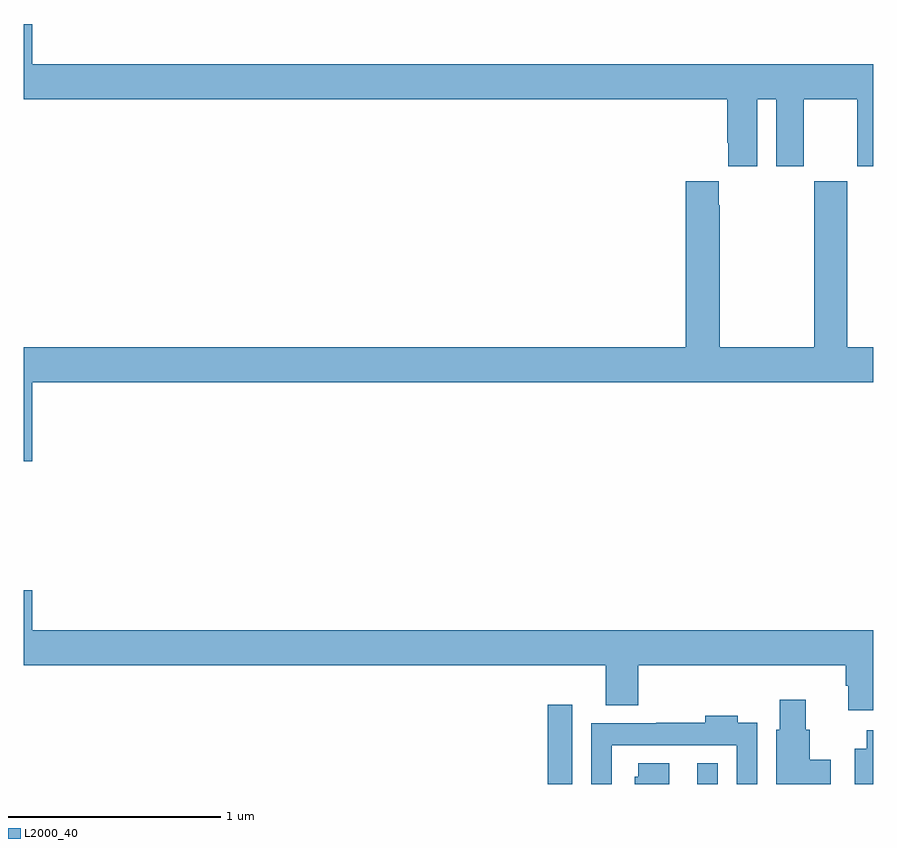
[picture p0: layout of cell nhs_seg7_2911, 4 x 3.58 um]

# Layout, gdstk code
import gdstk
lib = gdstk.Library(unit=1e-6, precision=1e-09)
def R(c, l, rs):  # rectangles x0, y0, x1, y1
    for r in rs: c.add(gdstk.rectangle(r[:2], r[2:], *l))
def P(c, l, *ps):  # polygons
    for p in ps: c.add(gdstk.Polygon(p, *l))
L2000_40 = (2000, 40)

nhs_seg7_2911 = lib.new_cell('nhs_seg7_2911')
R(nhs_seg7_2911, L2000_40, [(299.467,1056,299.583,1056.373), (300.17,1056,300.267,1056.097)])
P(nhs_seg7_2911, L2000_40, [(300.454,1059.224),(300.542,1059.224),(300.542,1058.907),(300.673,1058.907),(300.673,1059.224),(300.923,1059.224),(300.923,1058.907),(301,1058.907),(301,1059.388),(297.04,1059.388),(297.04,1059.577),(297,1059.577),(297,1059.224),(300.311,1059.224),(300.311,1059.019),(300.317,1059.019),(300.317,1058.907),(300.454,1058.907)],
  [(297.04,1057.892),(301,1057.892),(301,1058.056),(300.876,1058.056),(300.876,1058.836),(300.721,1058.836),(300.721,1058.056),(300.276,1058.056),(300.276,1058.723),(300.271,1058.723),(300.271,1058.836),(300.116,1058.836),(300.116,1058.056),(297,1058.056),(297,1057.518),(297.04,1057.518)],
  [(301,1056.724),(297.04,1056.724),(297.04,1056.913),(297,1056.913),(297,1056.56),(299.741,1056.56),(299.741,1056.371),(299.894,1056.371),(299.894,1056.56),(300.869,1056.56),(300.869,1056.462),(300.881,1056.462),(300.881,1056.348),(301,1056.348)],
  [(300.799,1056.114),(300.7,1056.114),(300.7,1056.255),(300.682,1056.255),(300.682,1056.397),(300.56,1056.397),(300.56,1056.255),(300.542,1056.255),(300.542,1056),(300.799,1056)],
  [(299.769,1056.182),(300.357,1056.182),(300.357,1056),(300.453,1056),(300.453,1056.289),(300.361,1056.289),(300.361,1056.322),(300.209,1056.322),(300.209,1056.289),(299.977,1056.289),(299.977,1056.286),(299.673,1056.286),(299.673,1056),(299.769,1056)],
  [(301,1056.253),(300.968,1056.253),(300.968,1056.166),(300.911,1056.166),(300.911,1056),(301,1056)],
  [(300.04,1056.097),(299.894,1056.097),(299.894,1056.033),(299.876,1056.033),(299.876,1056),(300.04,1056)])

lib.write_gds('nhs_seg7_2911.gds')
